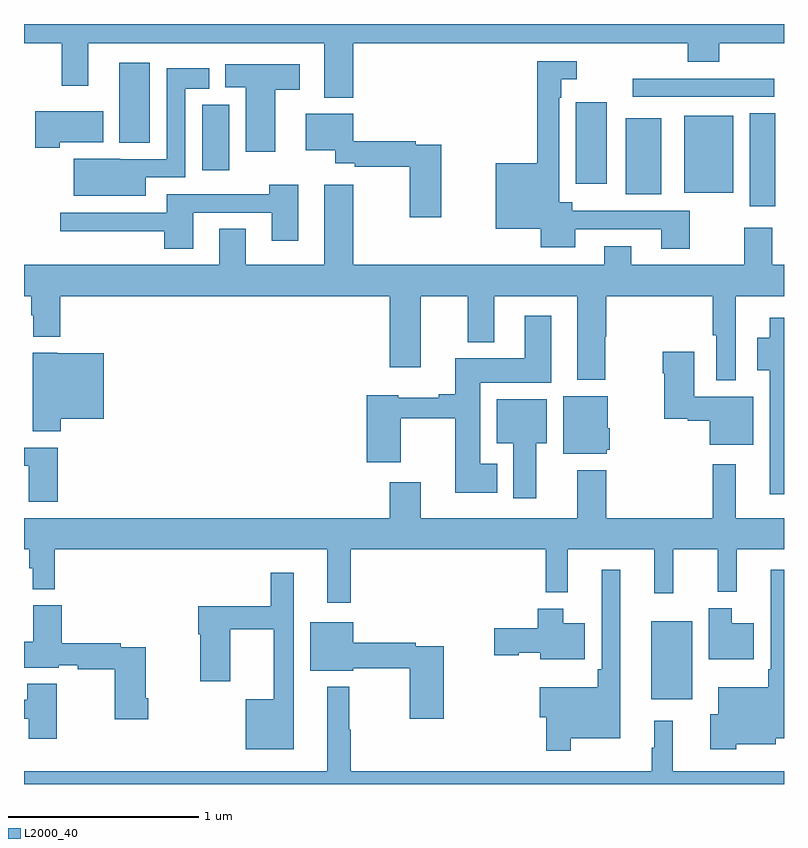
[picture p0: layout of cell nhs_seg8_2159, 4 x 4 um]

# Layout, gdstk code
import gdstk
lib = gdstk.Library(unit=1e-6, precision=1e-09)
def R(c, l, rs):  # rectangles x0, y0, x1, y1
    for r in rs: c.add(gdstk.rectangle(r[:2], r[2:], *l))
def P(c, l, *ps):  # polygons
    for p in ps: c.add(gdstk.Polygon(p, *l))
L2000_40 = (2000, 40)

nhs_seg8_2159 = lib.new_cell('nhs_seg8_2159')
R(nhs_seg8_2159, L2000_40, [(250.301,1146.347,250.516,1146.757), (250.82,1148.94,250.954,1149.431), (250.166,1149.005,250.354,1149.403), (250.475,1149.011,250.732,1149.418), (249.905,1149.06,250.066,1149.487), (247.937,1149.129,248.08,1149.475), (247.502,1149.275,247.663,1149.697), (250.203,1149.516,250.948,1149.612)])
P(nhs_seg8_2159, L2000_40, [(248.732,1149.8),(250.493,1149.8),(250.493,1149.701),(250.658,1149.701),(250.658,1149.8),(251,1149.8),(251,1149.9),(247,1149.9),(247,1149.8),(247.199,1149.8),(247.199,1149.576),(247.339,1149.576),(247.339,1149.8),(248.579,1149.8),(248.579,1149.512),(248.732,1149.512)],
  [(250.503,1148.916),(249.886,1148.916),(249.886,1148.962),(249.816,1148.962),(249.816,1149.512),(249.828,1149.512),(249.828,1149.609),(249.91,1149.609),(249.91,1149.705),(249.7,1149.705),(249.7,1149.166),(249.482,1149.166),(249.482,1148.822),(249.719,1148.822),(249.719,1148.726),(249.901,1148.726),(249.901,1148.82),(250.355,1148.82),(250.355,1148.718),(250.503,1148.718)],
  [(248.323,1149.554),(248.452,1149.554),(248.452,1149.688),(248.06,1149.688),(248.06,1149.566),(248.168,1149.566),(248.168,1149.228),(248.323,1149.228)],
  [(247.642,1149.093),(247.848,1149.093),(247.848,1149.56),(247.975,1149.56),(247.975,1149.667),(247.752,1149.667),(247.752,1149.189),(247.506,1149.189),(247.506,1149.19),(247.262,1149.19),(247.262,1148.996),(247.642,1148.996)],
  [(247.188,1149.278),(247.417,1149.278),(247.417,1149.442),(247.058,1149.442),(247.058,1149.248),(247.188,1149.248)],
  [(249.196,1149.264),(249.062,1149.264),(249.062,1149.284),(248.733,1149.284),(248.733,1149.427),(248.483,1149.427),(248.483,1149.236),(248.637,1149.236),(248.637,1149.168),(248.74,1149.168),(248.74,1149.148),(249.031,1149.148),(249.031,1148.883),(249.196,1148.883)],
  [(250.747,1148.468),(251,1148.468),(251,1148.632),(250.939,1148.632),(250.939,1148.827),(250.792,1148.827),(250.792,1148.632),(250.195,1148.632),(250.195,1148.731),(250.055,1148.731),(250.055,1148.632),(248.732,1148.632),(248.732,1149.055),(248.579,1149.055),(248.579,1148.632),(248.167,1148.632),(248.167,1148.822),(248.027,1148.822),(248.027,1148.632),(247,1148.632),(247,1148.468),(247.037,1148.468),(247.037,1148.367),(247.049,1148.367),(247.049,1148.255),(247.19,1148.255),(247.19,1148.468),(248.924,1148.468),(248.924,1148.094),(249.088,1148.094),(249.088,1148.468),(249.335,1148.468),(249.335,1148.225),(249.475,1148.225),(249.475,1148.468),(249.911,1148.468),(249.911,1148.027),(250.059,1148.027),(250.059,1148.253),(250.064,1148.253),(250.064,1148.468),(250.626,1148.468),(250.626,1148.263),(250.643,1148.263),(250.643,1148.024),(250.747,1148.024)],
  [(247.891,1148.907),(248.303,1148.907),(248.303,1148.76),(248.443,1148.76),(248.443,1149.055),(248.291,1149.055),(248.291,1149.003),(247.751,1149.003),(247.751,1148.907),(247.191,1148.907),(247.191,1148.81),(247.739,1148.81),(247.739,1148.718),(247.891,1148.718)],
  [(249.49,1147.585),(249.4,1147.585),(249.4,1148.012),(249.775,1148.012),(249.775,1148.365),(249.635,1148.365),(249.635,1148.14),(249.271,1148.14),(249.271,1147.952),(249.182,1147.952),(249.182,1147.933),(248.97,1147.933),(248.97,1147.945),(248.804,1147.945),(248.804,1147.593),(248.982,1147.593),(248.982,1147.824),(249.271,1147.824),(249.271,1147.433),(249.49,1147.433)],
  [(251,1148.353),(250.925,1148.353),(250.925,1148.248),(250.859,1148.248),(250.859,1148.078),(250.925,1148.078),(250.925,1147.425),(251,1147.425)],
  [(250.837,1147.939),(250.528,1147.939),(250.528,1148.176),(250.363,1148.176),(250.363,1148.063),(250.37,1148.063),(250.37,1147.823),(250.494,1147.823),(250.494,1147.811),(250.61,1147.811),(250.61,1147.685),(250.837,1147.685)],
  [(247.193,1147.823),(247.42,1147.823),(247.42,1148.167),(247.176,1148.167),(247.176,1148.17),(247.046,1148.17),(247.046,1147.756),(247.193,1147.756)],
  [(250.068,1147.659),(250.084,1147.659),(250.084,1147.773),(250.072,1147.773),(250.072,1147.942),(249.839,1147.942),(249.839,1147.637),(250.068,1147.637)],
  [(249.697,1147.694),(249.751,1147.694),(249.751,1147.924),(249.488,1147.924),(249.488,1147.694),(249.575,1147.694),(249.575,1147.404),(249.697,1147.404)],
  [(247.178,1147.671),(247,1147.671),(247,1147.575),(247.025,1147.575),(247.025,1147.386),(247.178,1147.386)],
  [(248.719,1147.136),(249.745,1147.136),(249.745,1146.908),(249.863,1146.908),(249.863,1147.136),(250.316,1147.136),(250.316,1146.903),(250.416,1146.903),(250.416,1147.136),(250.651,1147.136),(250.651,1146.911),(250.751,1146.911),(250.751,1147.136),(251,1147.136),(251,1147.3),(250.747,1147.3),(250.747,1147.582),(250.626,1147.582),(250.626,1147.3),(250.064,1147.3),(250.064,1147.552),(249.911,1147.552),(249.911,1147.3),(249.088,1147.3),(249.088,1147.489),(248.924,1147.489),(248.924,1147.3),(247,1147.3),(247,1147.136),(247.027,1147.136),(247.027,1147.035),(247.047,1147.035),(247.047,1146.926),(247.163,1146.926),(247.163,1147.136),(248.597,1147.136),(248.597,1146.855),(248.719,1146.855)],
  [(249.877,1146.14),(250.138,1146.14),(250.138,1147.027),(250.041,1147.027),(250.041,1146.505),(250.021,1146.505),(250.021,1146.409),(249.714,1146.409),(249.714,1146.251),(249.748,1146.251),(249.748,1146.075),(249.877,1146.075)],
  [(250.749,1146.11),(250.957,1146.11),(250.957,1146.14),(251,1146.14),(251,1147.027),(250.929,1147.027),(250.929,1146.505),(250.917,1146.505),(250.917,1146.409),(250.655,1146.409),(250.655,1146.268),(250.613,1146.268),(250.613,1146.083),(250.749,1146.083)],
  [(248.419,1147.012),(248.298,1147.012),(248.298,1146.835),(247.916,1146.835),(247.916,1146.689),(247.928,1146.689),(247.928,1146.441),(248.086,1146.441),(248.086,1146.714),(248.315,1146.714),(248.315,1146.346),(248.168,1146.346),(248.168,1146.083),(248.419,1146.083)],
  [(247.655,1146.352),(247.642,1146.352),(247.642,1146.621),(247.508,1146.621),(247.508,1146.641),(247.199,1146.641),(247.199,1146.841),(247.049,1146.841),(247.049,1146.65),(247,1146.65),(247,1146.512),(247.182,1146.512),(247.182,1146.525),(247.282,1146.525),(247.282,1146.505),(247.477,1146.505),(247.477,1146.24),(247.655,1146.24)],
  [(250.84,1146.745),(250.726,1146.745),(250.726,1146.826),(250.604,1146.826),(250.604,1146.557),(250.84,1146.557)],
  [(249.952,1146.745),(249.838,1146.745),(249.838,1146.823),(249.704,1146.823),(249.704,1146.72),(249.474,1146.72),(249.474,1146.578),(249.603,1146.578),(249.603,1146.59),(249.716,1146.59),(249.716,1146.557),(249.952,1146.557)],
  [(249.209,1146.624),(249.062,1146.624),(249.062,1146.644),(248.734,1146.644),(248.734,1146.751),(248.507,1146.751),(248.507,1146.497),(248.734,1146.497),(248.734,1146.508),(249.031,1146.508),(249.031,1146.243),(249.209,1146.243)],
  [(247.173,1146.427),(247.018,1146.427),(247.018,1146.343),(247,1146.343),(247,1146.243),(247.025,1146.243),(247.025,1146.138),(247.173,1146.138)],
  [(251,1145.968),(250.415,1145.968),(250.415,1146.232),(250.316,1146.232),(250.316,1146.092),(250.305,1146.092),(250.305,1145.968),(248.719,1145.968),(248.719,1146.185),(248.711,1146.185),(248.711,1146.412),(248.597,1146.412),(248.597,1145.968),(247,1145.968),(247,1145.9),(251,1145.9)])

lib.write_gds('nhs_seg8_2159.gds')
